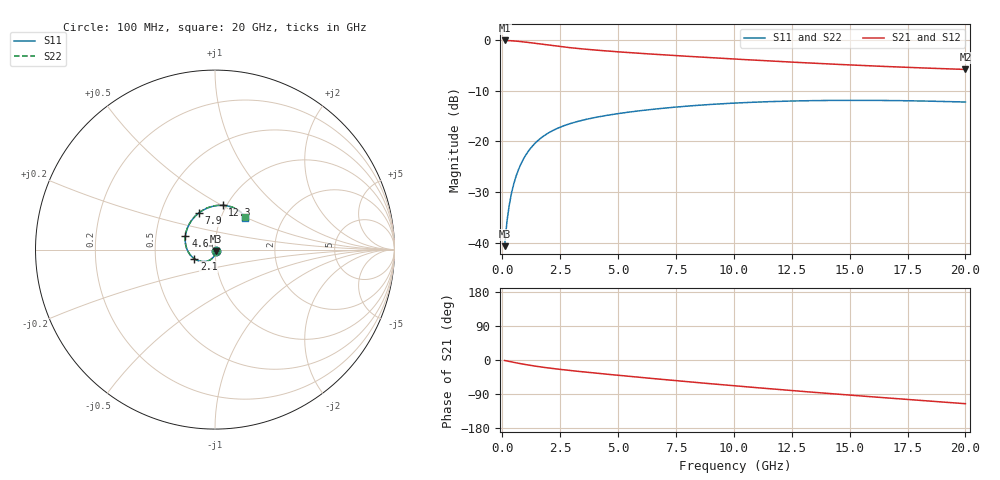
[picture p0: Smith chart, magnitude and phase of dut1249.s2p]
! Touchstone file exported from HFSS 2024.1.0
!  File:  C:/UserFiles/LocalFiles/RDL_TSV_Batchsim/temp_RDL_TSV_1249_1780269308.aedt
!  Generated:  07:29:41 AM Jun  1, 2026
!  Design:  RDL_TSV
!  Project:  temp_RDL_TSV_1249_1780269308
!  Setup:  Setup1
!  Solution:  Sweep
! Variables:
!  dtsv = 12.52um
!  hbump = 3um
!  htsv = 82.54um
!  ldown = 301.2um
!  lrdl = 105.28um
!  p = 40
!  p1 = 49.51um
!  rhole = 10um
!  subl = 1324.72um
!  t = 450um
!  tdown = 4.75um
!  trdl = 2.72um
!  viad = 10um
!  wdown = 27.9um
!  wrdl = 29.69um
!  xbump = 18um
# GHz S MA R 50.000000
! Terminal data exported
! Port[1] = TM1_1_T1
! Port[2] = TM1_4_T1
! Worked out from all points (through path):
!   200 points, 100 MHz to 20 GHz, reference 50 ohm
!   highest |S21| = -0.05 dB at 100 MHz (marker M1); lowest = -5.8 dB at 20 GHz (marker M2)
!   group delay of S21, straight-line fit = 14.9 ps
!   lowest |S11| = -40.7 dB at 100 MHz (marker M3), VSWR 1.02, Z = 50.5 - j0.783 ohm
!   |S11| at or under -10 dB: start of sweep to end of sweep
!   |S22| runs from -40.7 to -11.8 dB; largest |S21 - S12| = 2.9e-14
!   S11 on the Smith chart (normalised r, x): 100 MHz: 1.01, -0.02; 2.1 GHz: 0.79, -0.08; 4.6 GHz: 0.71, +0.12; 7.9 GHz: 0.77, +0.33; 12.3 GHz: 0.96, +0.50; 20 GHz: 1.30, +0.49
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0.1  0.009251 -56.9  0.994 -1.3  0.994 -1.3  0.00925 -56.9
! Gamma 0 0 0 0
! Port Impedance 50 0 50 0
0.2  0.01611 -76.1  0.9923 -2.6  0.9923 -2.6  0.01611 -76.2
0.3  0.02353 -86.1  0.9899 -3.9  0.9899 -3.9  0.02353 -86.1
0.4  0.03104 -93.2  0.9869 -5.1  0.9869 -5.1  0.03104 -93.2
0.5  0.03847 -99.0  0.9833 -6.3  0.9833 -6.3  0.03846 -99.0
0.6  0.04574 -104.1  0.979 -7.5  0.979 -7.5  0.04574 -104.1
0.7  0.05281 -108.8  0.9743 -8.7  0.9743 -8.7  0.05281 -108.8
0.8  0.05965 -113.1  0.9691 -9.8  0.9691 -9.8  0.05965 -113.1
1  0.07257 -121.1  0.9576 -12.0  0.9576 -12.0  0.07257 -121.1
1.3  0.08995 -131.9  0.9386 -15.0  0.9386 -15.0  0.08996 -131.9
1.7  0.1095 -144.6  0.9126 -18.6  0.9126 -18.6  0.1095 -144.6
2.1  0.1254 -155.8  0.8877 -21.8  0.8877 -21.8  0.1254 -155.8
2.7  0.1441 -170.4  0.8547 -26.2  0.8547 -26.2  0.1442 -170.5
3.5  0.1628 173.2  0.8187 -31.3  0.8187 -31.3  0.163 173.1
4.6  0.1823 154.5  0.7799 -38.0  0.7799 -38.0  0.1826 154.4
6.8  0.2112 125.8  0.7207 -50.6  0.7207 -50.6  0.2117 125.7
7.9  0.2225 114.3  0.6955 -56.7  0.6955 -56.7  0.2231 114.2
10.1  0.2397 95.2  0.6503 -68.4  0.6503 -68.4  0.2405 95.1
12.3  0.2502 80.0  0.6109 -79.6  0.6109 -79.6  0.2511 80.0
13.4  0.2531 73.6  0.5932 -85.0  0.5932 -85.0  0.2541 73.6
16.7  0.2538 57.9  0.5483 -100.5  0.5483 -100.5  0.2549 58.0
20  0.2451 46.7  0.5144 -115.3  0.5144 -115.3  0.2462 46.7
